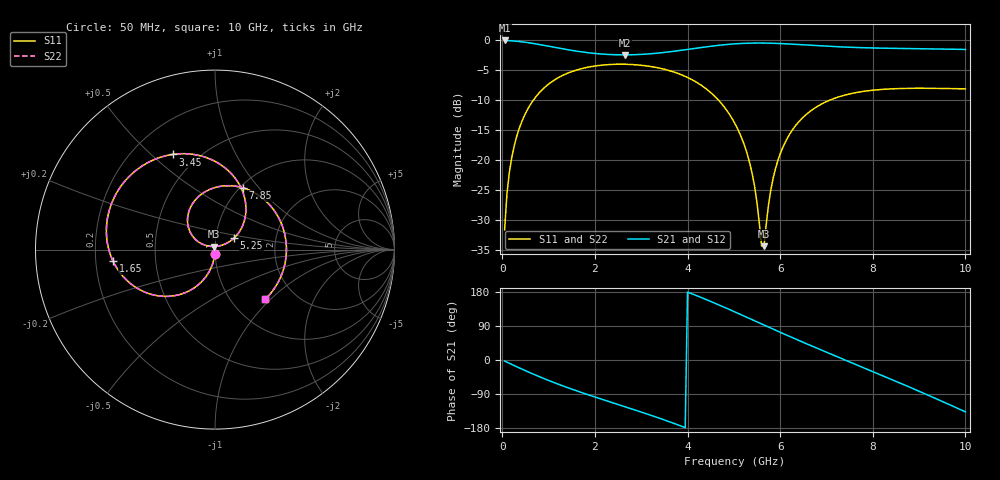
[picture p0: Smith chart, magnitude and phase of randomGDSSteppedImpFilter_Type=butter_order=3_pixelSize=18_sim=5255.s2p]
! freq	dB(S11)	phase(S11)	dB(S12)	phase(S12)
!  dB(S21)	phase(S21)	dB(S22)	phase(S22)
!S-par simulation data
#  GHz  S  DB  R 50
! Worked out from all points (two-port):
!   200 points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, 50 MHz to 10 GHz, reference 50 ohm
!   highest |S21| = -0.01 dB at 50 MHz (marker M1); lowest = -2.4 dB at 2.65 GHz (marker M2)
!   |S21| within 3 dB of the highest: start of sweep to end of sweep
!   lowest |S11| = -34.4 dB at 5.65 GHz (marker M3), VSWR 1.04, Z = 49.1 + j1.69 ohm
!   |S11| at or under -10 dB: start of sweep to 670.4 MHz; 4.669 GHz to 7.067 GHz (2.397 GHz wide, 40.9 % of centre)
!   |S22| runs from -34.4 to -4.0 dB; largest |S21 - S12| = 0
!   S11 on the Smith chart (normalised r, x): 50 MHz: 1.00, -0.05; 1.65 GHz: 0.27, -0.05; 3.45 GHz: 0.37, +0.59; 5.25 GHz: 1.23, +0.16; 7.85 GHz: 1.03, +0.83; 10 GHz: 1.42, -0.93
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0.05  -31.69 -93.0  -0.01 -2.9  -0.01 -2.9  -31.69 -93.0
0.1  -25.70 -96.1  -0.02 -5.8  -0.02 -5.8  -25.70 -96.1
0.2  -19.76 -102.0  -0.07 -11.5  -0.07 -11.5  -19.76 -102.0
0.45  -13.05 -116.1  -0.26 -25.5  -0.26 -25.5  -13.05 -116.1
1  -7.30 -144.5  -0.97 -54.0  -0.97 -54.0  -7.30 -144.5
1.65  -4.84 -173.8  -1.85 -83.3  -1.85 -83.3  -4.84 -173.8
1.75  -4.64 -178.0  -1.95 -87.4  -1.95 -87.4  -4.64 -178.0
2.65  -3.98 146.2  -2.42 -123.4  -2.42 -123.4  -3.98 146.2
3.4  -4.64 116.0  -2.09 -153.9  -2.09 -153.9  -4.64 116.0
3.45  -4.73 113.9  -2.05 -156.0  -2.05 -156.0  -4.73 113.9
4.3  -7.52 75.6  -1.18 164.7  -1.18 164.7  -7.52 75.6
5.05  -14.29 39.4  -0.56 125.4  -0.56 125.4  -14.29 39.4
5.25  -18.03 31.4  -0.48 114.4  -0.48 114.4  -18.03 31.3
5.65  -34.40 115.9  -0.44 92.3  -0.44 92.3  -34.43 116.0
5.8  -24.94 155.6  -0.46 84.1  -0.46 84.1  -24.94 155.7
6  -18.99 153.9  -0.52 73.2  -0.52 73.2  -18.99 153.9
6.7  -11.55 122.3  -0.83 36.1  -0.83 36.1  -11.55 122.3
7.25  -9.48 95.3  -1.06 7.8  -1.06 7.8  -9.48 95.3
7.85  -8.46 65.7  -1.23 -22.7  -1.23 -22.7  -8.46 65.7
8.35  -8.12 40.8  -1.32 -48.4  -1.32 -48.4  -8.12 40.8
9.2  -8.00 -2.3  -1.40 -93.1  -1.40 -93.1  -8.00 -2.3
10  -8.10 -44.8  -1.51 -136.9  -1.51 -136.9  -8.10 -44.9
